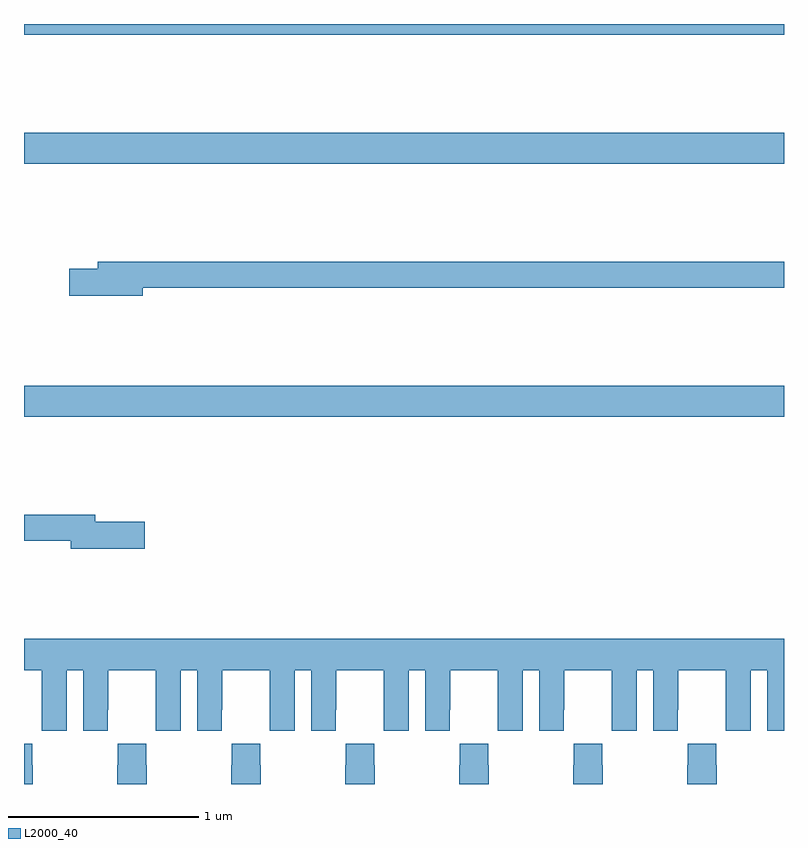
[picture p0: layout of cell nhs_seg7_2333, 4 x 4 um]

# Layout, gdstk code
import gdstk
lib = gdstk.Library(unit=1e-6, precision=1e-09)
def R(c, l, rs):  # rectangles x0, y0, x1, y1
    for r in rs: c.add(gdstk.rectangle(r[:2], r[2:], *l))
def P(c, l, *ps):  # polygons
    for p in ps: c.add(gdstk.Polygon(p, *l))
L2000_40 = (2000, 40)

nhs_seg7_2333 = lib.new_cell('nhs_seg7_2333')
R(nhs_seg7_2333, L2000_40, [(263,1017.932,267,1018.096), (263,1019.264,267,1019.428), (263,1019.944,267,1020)])
P(nhs_seg7_2333, L2000_40, [(263.626,1018.612),(267,1018.612),(267,1018.748),(263.387,1018.748),(263.387,1018.712),(263.238,1018.712),(263.238,1018.57),(263.626,1018.57)],
  [(263.635,1017.38),(263.374,1017.38),(263.374,1017.416),(263,1017.416),(263,1017.28),(263.246,1017.28),(263.246,1017.238),(263.635,1017.238)],
  [(263.224,1016.6),(263.312,1016.6),(263.312,1016.28),(263.442,1016.28),(263.442,1016.392),(263.443,1016.392),(263.443,1016.6),(263.693,1016.6),(263.693,1016.392),(263.694,1016.392),(263.694,1016.28),(263.824,1016.28),(263.824,1016.6),(263.912,1016.6),(263.912,1016.28),(264.042,1016.28),(264.042,1016.392),(264.043,1016.392),(264.043,1016.6),(264.293,1016.6),(264.293,1016.392),(264.294,1016.392),(264.294,1016.28),(264.424,1016.28),(264.424,1016.6),(264.512,1016.6),(264.512,1016.28),(264.642,1016.28),(264.642,1016.392),(264.643,1016.392),(264.643,1016.6),(264.893,1016.6),(264.893,1016.392),(264.894,1016.392),(264.894,1016.28),(265.024,1016.28),(265.024,1016.6),(265.112,1016.6),(265.112,1016.28),(265.242,1016.28),(265.242,1016.392),(265.243,1016.392),(265.243,1016.6),(265.493,1016.6),(265.493,1016.392),(265.494,1016.392),(265.494,1016.28),(265.624,1016.28),(265.624,1016.6),(265.712,1016.6),(265.712,1016.28),(265.842,1016.28),(265.842,1016.392),(265.843,1016.392),(265.843,1016.6),(266.093,1016.6),(266.093,1016.392),(266.094,1016.392),(266.094,1016.28),(266.224,1016.28),(266.224,1016.6),(266.312,1016.6),(266.312,1016.28),(266.442,1016.28),(266.442,1016.392),(266.443,1016.392),(266.443,1016.6),(266.693,1016.6),(266.693,1016.392),(266.694,1016.392),(266.694,1016.28),(266.824,1016.28),(266.824,1016.6),(266.912,1016.6),(266.912,1016.28),(267,1016.28),(267,1016.764),(263,1016.764),(263,1016.6),(263.093,1016.6),(263.093,1016.392),(263.094,1016.392),(263.094,1016.28),(263.224,1016.28)],
  [(266.646,1016.099),(266.643,1016.099),(266.643,1016.212),(266.493,1016.212),(266.493,1016.099),(266.491,1016.099),(266.491,1016),(266.646,1016)],
  [(263.646,1016.099),(263.643,1016.099),(263.643,1016.212),(263.493,1016.212),(263.493,1016.099),(263.491,1016.099),(263.491,1016),(263.646,1016)],
  [(266.046,1016.099),(266.043,1016.099),(266.043,1016.212),(265.893,1016.212),(265.893,1016.099),(265.891,1016.099),(265.891,1016),(266.046,1016)],
  [(265.446,1016.099),(265.443,1016.099),(265.443,1016.212),(265.293,1016.212),(265.293,1016.099),(265.291,1016.099),(265.291,1016),(265.446,1016)],
  [(264.846,1016.099),(264.843,1016.099),(264.843,1016.212),(264.693,1016.212),(264.693,1016.099),(264.691,1016.099),(264.691,1016),(264.846,1016)],
  [(264.246,1016.099),(264.243,1016.099),(264.243,1016.212),(264.093,1016.212),(264.093,1016.099),(264.091,1016.099),(264.091,1016),(264.246,1016)],
  [(263.046,1016.099),(263.043,1016.099),(263.043,1016.212),(263,1016.212),(263,1016),(263.046,1016)])

lib.write_gds('nhs_seg7_2333.gds')
